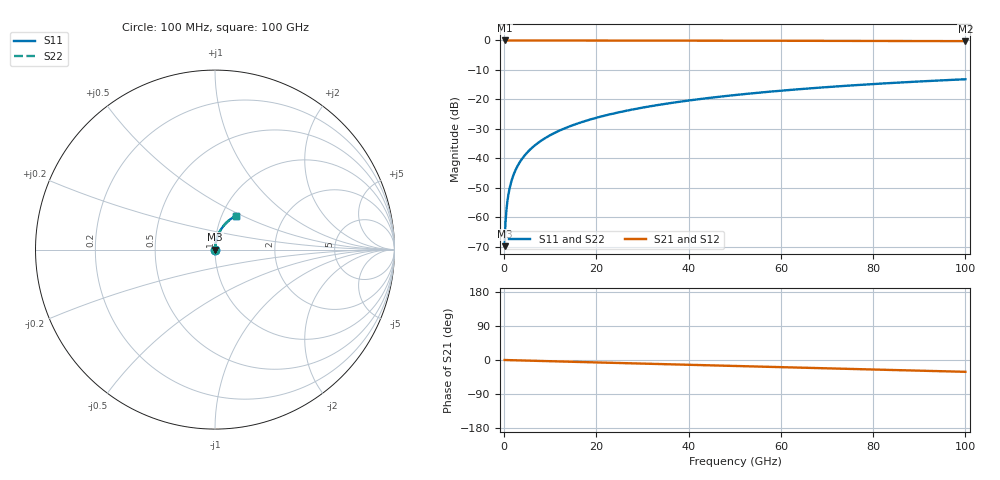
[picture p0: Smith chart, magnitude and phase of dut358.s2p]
! Touchstone file exported from HFSS 2026.1.0
!  File:  C:/ffzhzh/LocalFiles/Ansys_Project_Files/temp_train_TSV_358_1783510140_9504.aedt
!  Generated:  07:30:13 PM Jul  8, 2026
!  Design:  TSV
!  Project:  temp_train_TSV_358_1783510140_9504
! Variables:
!  h_bsmrdl = 2um
!  h_ox = 20um
!  h_rdl = 5um
!  h_sub = 50.41um
!  h_tmrdl = 5um
!  h_tsv = 50.41um
!  h_via = 3um
!  l_bsmrdl = 300um
!  l_sub = 413.1um
!  l_tmrdl = 200um
!  m_sub = 200um
!  pitch = 48.77um
!  r_tsv = 6.55um
!  s_tmrdl = 10um
!  w_bsmrdl = 18um
!  w_sub = 500um
!  w_tmrdl = 12um
!  x_tsv_center1 = 206um
!  x_tsv_center2 = 524um
!  x_tsv_center3 = 736um
!  x_tsv_center4 = 1054um
!  x_tsv_center5 = 1266um
!  x_tsv_center6 = 1584um
# GHz S MA R 50.000000
! Terminal data exported
! Port[1] = TSV1_1_T1
! Port[2] = TSV1_1_T2
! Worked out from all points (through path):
!   1000 points, 100 MHz to 100 GHz, reference 50 ohm
!   highest |S21| = 0.00 dB at 100 MHz (marker M1); lowest = -0.2 dB at 100 GHz (marker M2)
!   group delay of S21, straight-line fit = 866 fs
!   lowest |S11| = -69.8 dB at 100 MHz (marker M3), VSWR 1.00, Z = 50 + j0.0276 ohm
!   |S11| at or under -10 dB: start of sweep to end of sweep
!   |S22| runs from -69.8 to -13.2 dB; largest |S21 - S12| = 4.2e-15
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0.1  0.0003243 58.4  0.9998 -0.0  0.9998 -0.0  0.0003243 58.4
! Gamma 0 0 0 0
! Port Impedance 50 0 50 0
0.4  0.001082 79.2  0.9998 -0.1  0.9998 -0.1  0.001082 79.2
0.7  0.001853 82.9  0.9998 -0.2  0.9998 -0.2  0.001853 82.9
0.8  0.002111 83.5  0.9998 -0.3  0.9998 -0.3  0.002111 83.5
1  0.002625 84.3  0.9998 -0.3  0.9998 -0.3  0.002625 84.3
1.3  0.003394 85.0  0.9997 -0.4  0.9997 -0.4  0.003394 85.0
1.7  0.004411 85.4  0.9997 -0.6  0.9997 -0.6  0.004411 85.4
2.3  0.00592 85.6  0.9996 -0.7  0.9996 -0.7  0.00592 85.6
3  0.007659 85.7  0.9995 -1.0  0.9995 -1.0  0.007659 85.7
3.8  0.00963 85.8  0.9995 -1.2  0.9995 -1.2  0.00963 85.8
4.8  0.01208 85.8  0.9994 -1.5  0.9994 -1.5  0.01208 85.8
6  0.01501 85.6  0.9993 -1.9  0.9993 -1.9  0.01501 85.6
8.8  0.02184 85.2  0.999 -2.8  0.999 -2.8  0.02184 85.2
12.4  0.03056 84.3  0.9986 -4.0  0.9986 -4.0  0.03056 84.3
16.8  0.04116 83.1  0.9981 -5.4  0.9981 -5.4  0.04116 83.1
24.2  0.05885 81.0  0.997 -7.7  0.997 -7.7  0.05885 81.0
33.4  0.08053 78.3  0.9952 -10.6  0.9952 -10.6  0.08053 78.3
41.2  0.09858 76.0  0.9935 -13.1  0.9935 -13.1  0.09858 76.0
50.1  0.1187 73.3  0.9911 -15.8  0.9911 -15.8  0.1187 73.3
66.7  0.1548 68.2  0.9858 -21.0  0.9858 -21.0  0.1548 68.2
83.4  0.1888 63.2  0.9797 -26.1  0.9797 -26.1  0.1888 63.2
100  0.2198 58.2  0.973 -31.2  0.973 -31.2  0.2198 58.2
